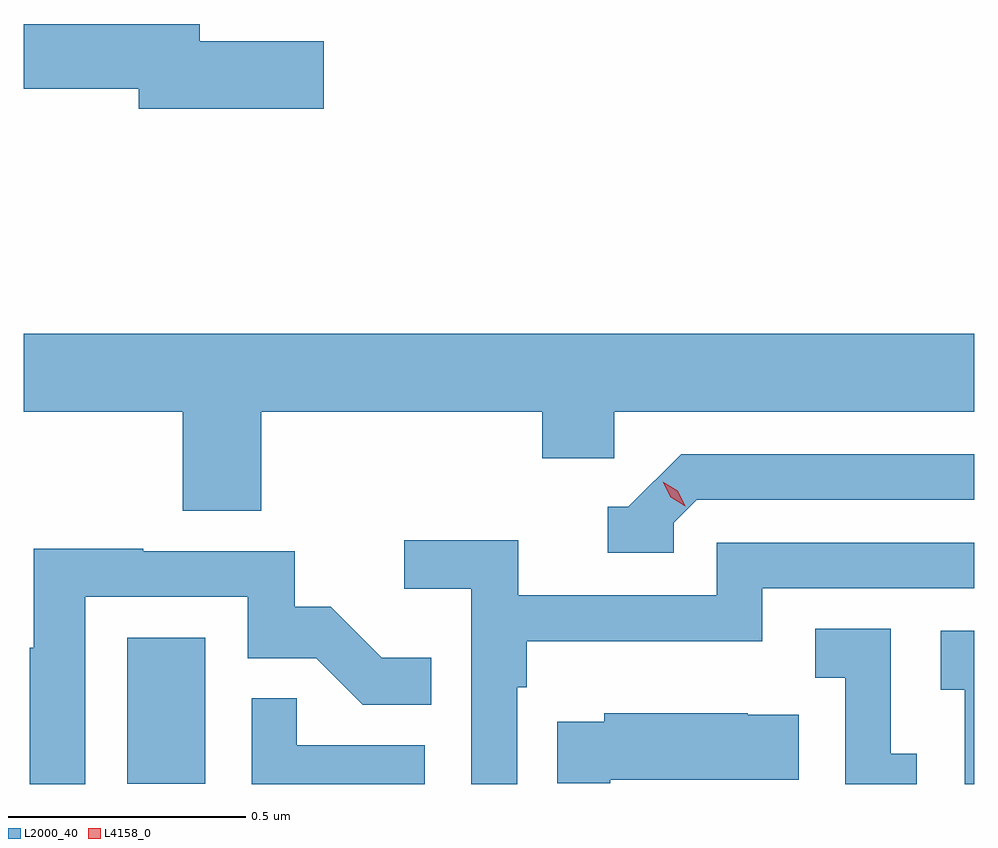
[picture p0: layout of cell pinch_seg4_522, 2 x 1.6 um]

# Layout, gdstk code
import gdstk
lib = gdstk.Library(unit=1e-6, precision=1e-09)
def R(c, l, rs):  # rectangles x0, y0, x1, y1
    for r in rs: c.add(gdstk.rectangle(r[:2], r[2:], *l))
def P(c, l, *ps):  # polygons
    for p in ps: c.add(gdstk.Polygon(p, *l))
L2000_40 = (2000, 40)
L4158_0 = (4158, 0)

pinch_seg4_522 = lib.new_cell('pinch_seg4_522')
R(pinch_seg4_522, L2000_40, [(962.3,753.414,962.464,753.721)])
P(pinch_seg4_522, L2000_40, [(962.713,754.976),(962.452,754.976),(962.452,755.012),(962.082,755.012),(962.082,754.876),(962.324,754.876),(962.324,754.834),(962.713,754.834)],
  [(962.582,754.196),(963.173,754.196),(963.173,754.098),(963.324,754.098),(963.324,754.196),(964.082,754.196),(964.082,754.36),(962.082,754.36),(962.082,754.196),(962.417,754.196),(962.417,753.988),(962.582,753.988)],
  [(963.45,753.963),(963.498,754.011),(964.082,754.011),(964.082,754.107),(963.465,754.107),(963.354,753.996),(963.311,753.996),(963.311,753.9),(963.45,753.9)],
  [(963.12,753.617),(963.14,753.617),(963.14,753.713),(963.636,753.713),(963.636,753.825),(964.082,753.825),(964.082,753.921),(963.54,753.921),(963.54,753.81),(963.122,753.81),(963.122,753.926),(962.883,753.926),(962.883,753.824),(963.024,753.824),(963.024,753.413),(963.12,753.413)],
  [(962.211,753.807),(962.553,753.807),(962.553,753.678),(962.697,753.678),(962.795,753.58),(962.939,753.58),(962.939,753.679),(962.835,753.679),(962.728,753.786),(962.652,753.786),(962.652,753.903),(962.333,753.903),(962.333,753.908),(962.103,753.908),(962.103,753.7),(962.095,753.7),(962.095,753.413),(962.211,753.413)],
  [(963.961,753.477),(963.906,753.477),(963.906,753.74),(963.747,753.74),(963.747,753.637),(963.81,753.637),(963.81,753.413),(963.961,753.413)],
  [(964.082,753.735),(964.011,753.735),(964.011,753.611),(964.062,753.611),(964.062,753.413),(964.082,753.413)],
  [(962.926,753.495),(962.657,753.495),(962.657,753.593),(962.562,753.593),(962.562,753.413),(962.926,753.413)],
  [(963.316,753.422),(963.713,753.422),(963.713,753.559),(963.605,753.559),(963.605,753.562),(963.303,753.562),(963.303,753.544),(963.205,753.544),(963.205,753.415),(963.316,753.415)])
P(pinch_seg4_522, L4158_0, [(963.474,753.997),(963.443,754.016),(963.427,754.049),(963.427,754.049),(963.427,754.049),(963.458,754.03),(963.474,753.997),(963.474,753.997)])

lib.write_gds('pinch_seg4_522.gds')
